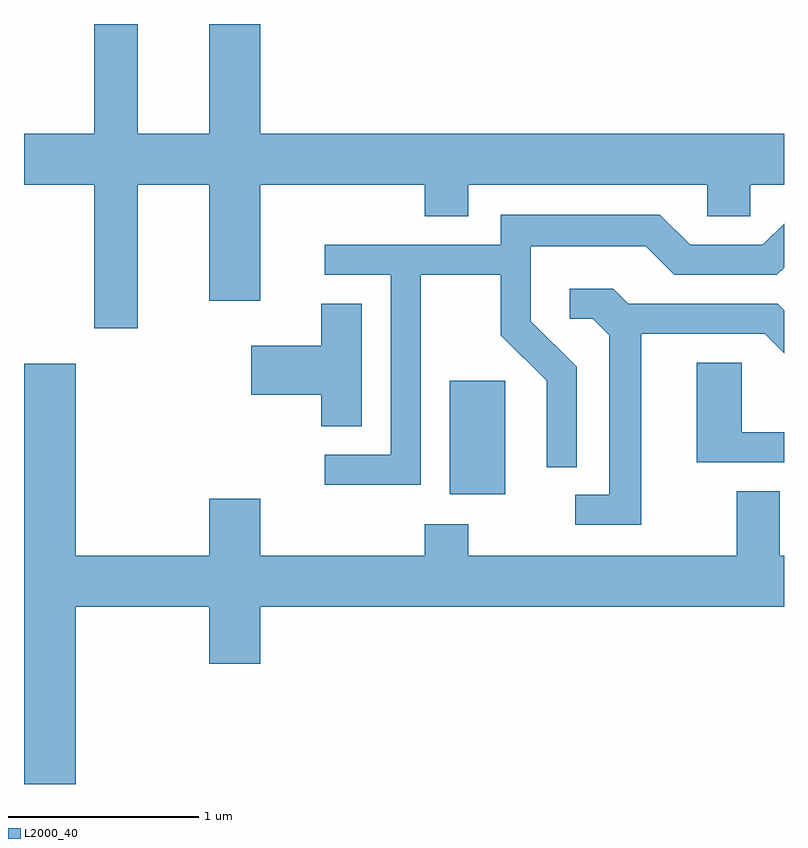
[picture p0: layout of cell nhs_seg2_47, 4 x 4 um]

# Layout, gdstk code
import gdstk
lib = gdstk.Library(unit=1e-6, precision=1e-09)
def R(c, l, rs):  # rectangles x0, y0, x1, y1
    for r in rs: c.add(gdstk.rectangle(r[:2], r[2:], *l))
def P(c, l, *ps):  # polygons
    for p in ps: c.add(gdstk.Polygon(p, *l))
L2000_40 = (2000, 40)

nhs_seg2_47 = lib.new_cell('nhs_seg2_47')
R(nhs_seg2_47, L2000_40, [(187.851,1073.326,188.144,1073.924)])
P(nhs_seg2_47, L2000_40, [(186.209,1074.956),(186.586,1074.956),(186.586,1074.346),(186.854,1074.346),(186.854,1074.956),(187.721,1074.956),(187.721,1074.791),(187.949,1074.791),(187.949,1074.956),(189.206,1074.956),(189.206,1074.791),(189.434,1074.791),(189.434,1074.956),(189.611,1074.956),(189.611,1075.224),(186.854,1075.224),(186.854,1075.802),(186.586,1075.802),(186.586,1075.224),(186.209,1075.224),(186.209,1075.802),(185.981,1075.802),(185.981,1075.224),(185.611,1075.224),(185.611,1074.956),(185.981,1074.956),(185.981,1074.201),(186.209,1074.201)],
  [(187.699,1074.481),(188.121,1074.481),(188.121,1074.164),(188.361,1073.924),(188.361,1073.468),(188.519,1073.468),(188.519,1073.997),(188.279,1074.237),(188.279,1074.631),(188.884,1074.631),(189.034,1074.481),(189.572,1074.481),(189.611,1074.52),(189.611,1074.751),(189.499,1074.639),(189.117,1074.639),(188.957,1074.799),(188.121,1074.799),(188.121,1074.639),(187.193,1074.639),(187.193,1074.481),(187.541,1074.481),(187.541,1073.534),(187.193,1073.534),(187.193,1073.376),(187.699,1073.376)],
  [(188.859,1074.171),(189.509,1074.171),(189.611,1074.069),(189.611,1074.295),(189.577,1074.329),(188.792,1074.329),(188.712,1074.409),(188.483,1074.409),(188.483,1074.251),(188.604,1074.251),(188.691,1074.164),(188.691,1073.324),(188.513,1073.324),(188.513,1073.166),(188.859,1073.166)],
  [(187.389,1074.329),(187.176,1074.329),(187.176,1074.109),(186.806,1074.109),(186.806,1073.851),(187.176,1073.851),(187.176,1073.686),(187.389,1073.686)],
  [(189.611,1073.654),(189.389,1073.654),(189.389,1074.019),(189.151,1074.019),(189.151,1073.496),(189.611,1073.496)],
  [(185.884,1072.736),(186.586,1072.736),(186.586,1072.436),(186.854,1072.436),(186.854,1072.736),(189.611,1072.736),(189.611,1073.004),(189.589,1073.004),(189.589,1073.344),(189.361,1073.344),(189.361,1073.004),(187.949,1073.004),(187.949,1073.169),(187.721,1073.169),(187.721,1073.004),(186.854,1073.004),(186.854,1073.304),(186.586,1073.304),(186.586,1073.004),(185.884,1073.004),(185.884,1074.014),(185.611,1074.014),(185.611,1071.802),(185.884,1071.802)])

lib.write_gds('nhs_seg2_47.gds')
